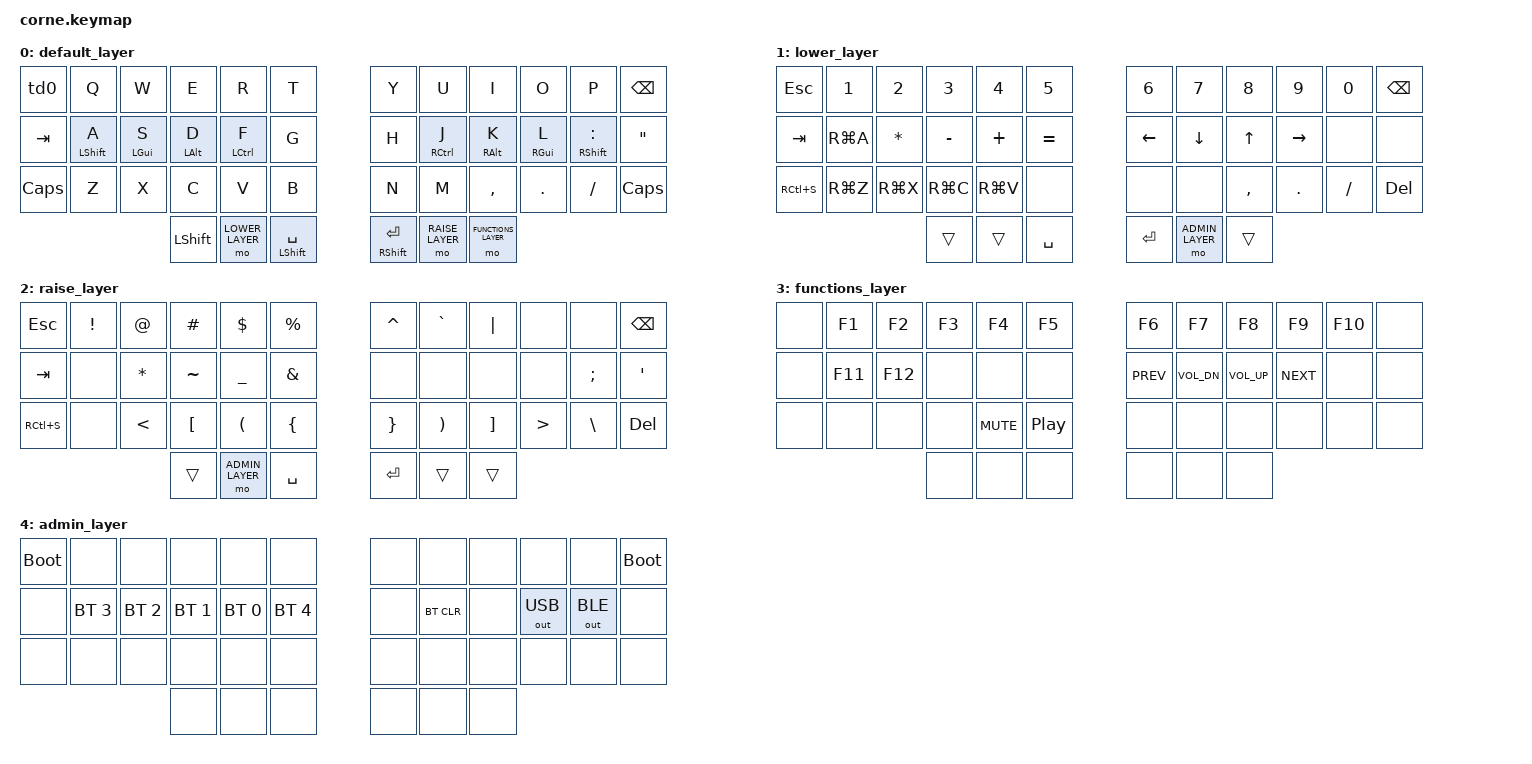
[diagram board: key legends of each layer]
#include <behaviors.dtsi>
#include <dt-bindings/zmk/bt.h>
#include <dt-bindings/zmk/keys.h>
#include <dt-bindings/zmk/outputs.h>

#define DEFAULT_LAYER   0
#define LOWER_LAYER     1
#define RAISE_LAYER     2
#define FUNCTIONS_LAYER 3
#define ADMIN_LAYER     4

// SAGC(Shift / Command-Alt / Gui / Control) as home row mod

/ {
    behaviors {
        hml: home_row_mod_left {
            compatible = "zmk,behavior-hold-tap";
            label = "HOMEROW_LEFT";
            #binding-cells = <2>;
            flavor = "balanced";
            require-prior-idle-ms = <150>;
            tapping-term-ms = <280>;
            quick-tap-ms = <175>;
            bindings = <&kp>, <&kp>;
            hold-trigger-key-positions = <6 7 8 9 10 11 18 19 20 21 22 23 30 31 32 33 34 35 39 40 41>; // Right-side keys
            hold-trigger-on-release;
        };
        hmr: home_row_mod_right {
            compatible = "zmk,behavior-hold-tap";
            label = "HOMEROW_RIGHT";
            #binding-cells = <2>;
            flavor = "balanced";
            require-prior-idle-ms = <150>;
            tapping-term-ms = <280>;
            quick-tap-ms = <175>;
            bindings = <&kp>, <&kp>;
            hold-trigger-key-positions = <0 1 2 3 4 5 12 13 14 15 16 17 24 25 26 27 28 29 36 37 38>; // Left-side keys
            hold-trigger-on-release;
        };
        td0: tap_dance_0 {
            compatible = "zmk,behavior-tap-dance";
            label = "TAP_DANCE_0";
            #binding-cells = <0>;
            tapping-term-ms = <200>;
            bindings = <&kp ESC>, <&caps_word>;
        };
        td_shift: tap_dance_shift {
            compatible = "zmk,behavior-tap-dance";
            label = "TAP_DANCE_SHIFT";
            #binding-cells = <0>;
            tapping-term-ms = <200>;
            bindings = <&kp LSHFT>, <&sk LSHFT>;
        };
        tog_on: toggle_layer_on_only {
            compatible = "zmk,behavior-toggle-layer";
            #binding-cells = <1>;
            display-name = "Toggle Layer ON";
            toggle-mode = "on";
        };
        tog_off: toggle_layer_off_only {
            compatible = "zmk,behavior-toggle-layer";
            #binding-cells = <1>;
            display-name = "Toggle Layer OFF";
            toggle-mode = "off";
        };
    };

    combos {
        compatible = "zmk,combos";
        combo_esc {
            layers = <DEFAULT_LAYER>;
            timeout-ms = <50>;
            key-positions = <19 20>;
            bindings = <&kp ESC>;
        };
    };

    keymap {
        compatible = "zmk,keymap";

        default_layer {
            bindings = <
                &td0        &kp Q        &kp W        &kp E          &kp R           &kp T                       &kp Y          &kp U            &kp I               &kp O        &kp P            &kp BSPC
                &kp TAB     &hml LSHFT A &hml LGUI S  &hml LALT D    &hml LCTRL F    &kp G                       &kp H          &hmr RCTRL J     &hmr RALT K         &hmr RGUI L  &hmr RSHFT COLON &kp DOUBLE_QUOTES
                &kp CAPS    &kp Z        &kp X        &kp C          &kp V           &kp B                       &kp N          &kp M            &kp COMMA           &kp DOT      &kp FSLH         &kp CAPS
                                                      &kp LEFT_SHIFT &mo LOWER_LAYER &hml LSHFT SPACE            &hmr RSHFT RET &mo RAISE_LAYER  &mo FUNCTIONS_LAYER
            >;
        };

        lower_layer {
            bindings = <
                &kp ESC     &kp N1       &kp N2       &kp N3         &kp N4          &kp N5                      &kp N6         &kp N7           &kp N8              &kp N9       &kp N0           &kp BSPC
                &kp TAB     &kp RG(A)    &kp ASTRK    &kp MINUS      &kp PLUS        &kp EQUAL                   &kp LEFT       &kp DOWN         &kp UP              &kp RIGHT    &none            &none
                &kp RC(S)   &kp RG(Z)    &kp RG(X)    &kp RG(C)      &kp RG(V)       &none                       &none          &none            &kp COMMA           &kp DOT      &kp FSLH         &kp DELETE
                                                      &trans         &trans          &kp SPACE                   &kp RET        &mo ADMIN_LAYER  &trans
            >;
        };

        raise_layer {
            bindings = <
                &kp ESC     &kp EXCL     &kp AT       &kp HASH       &kp DLLR        &kp PRCNT                   &kp CARET      &kp GRAVE        &kp PIPE            &none        &none            &kp BSPC
                &kp TAB     &none        &kp ASTRK    &kp TILDE      &kp UNDER       &kp AMPS                    &none          &none            &none               &none        &kp SEMICOLON    &kp APOSTROPHE
                &kp RC(S)   &none        &kp LT       &kp LBKT       &kp LPAR        &kp LBRC                    &kp RBRC       &kp RPAR         &kp RBKT            &kp GT       &kp BSLH         &kp DELETE
                                                      &trans         &mo ADMIN_LAYER &kp SPACE                   &kp RET        &trans           &trans
            >;
        };

        functions_layer {
            bindings = <
                &none       &kp F1       &kp F2       &kp F3         &kp F4          &kp F5                      &kp F6         &kp F7           &kp F8              &kp F9       &kp F10          &none
                &none       &kp F11      &kp F12      &none          &none           &none                       &kp C_PREV     &kp C_VOL_DN     &kp C_VOL_UP        &kp C_NEXT   &none            &none
                &none       &none        &none        &none          &kp C_MUTE      &kp C_PLAY_PAUSE            &none          &none            &none               &none        &none            &none
                                                      &none          &none           &none                       &none          &none            &none
            >;
        };

        admin_layer {
            bindings = <
                &bootloader &none        &none        &none          &none           &none                       &none          &none            &none               &none        &none            &bootloader
                &none       &bt BT_SEL 3 &bt BT_SEL 2 &bt BT_SEL 1   &bt BT_SEL 0    &bt BT_SEL 4                &none          &bt BT_CLR       &none               &out OUT_USB &out OUT_BLE     &none
                &none       &none        &none        &none          &none           &none                       &none          &none            &none               &none        &none            &none
                                                      &none          &none           &none                       &none          &none            &none
            >;
        };
    };
};
